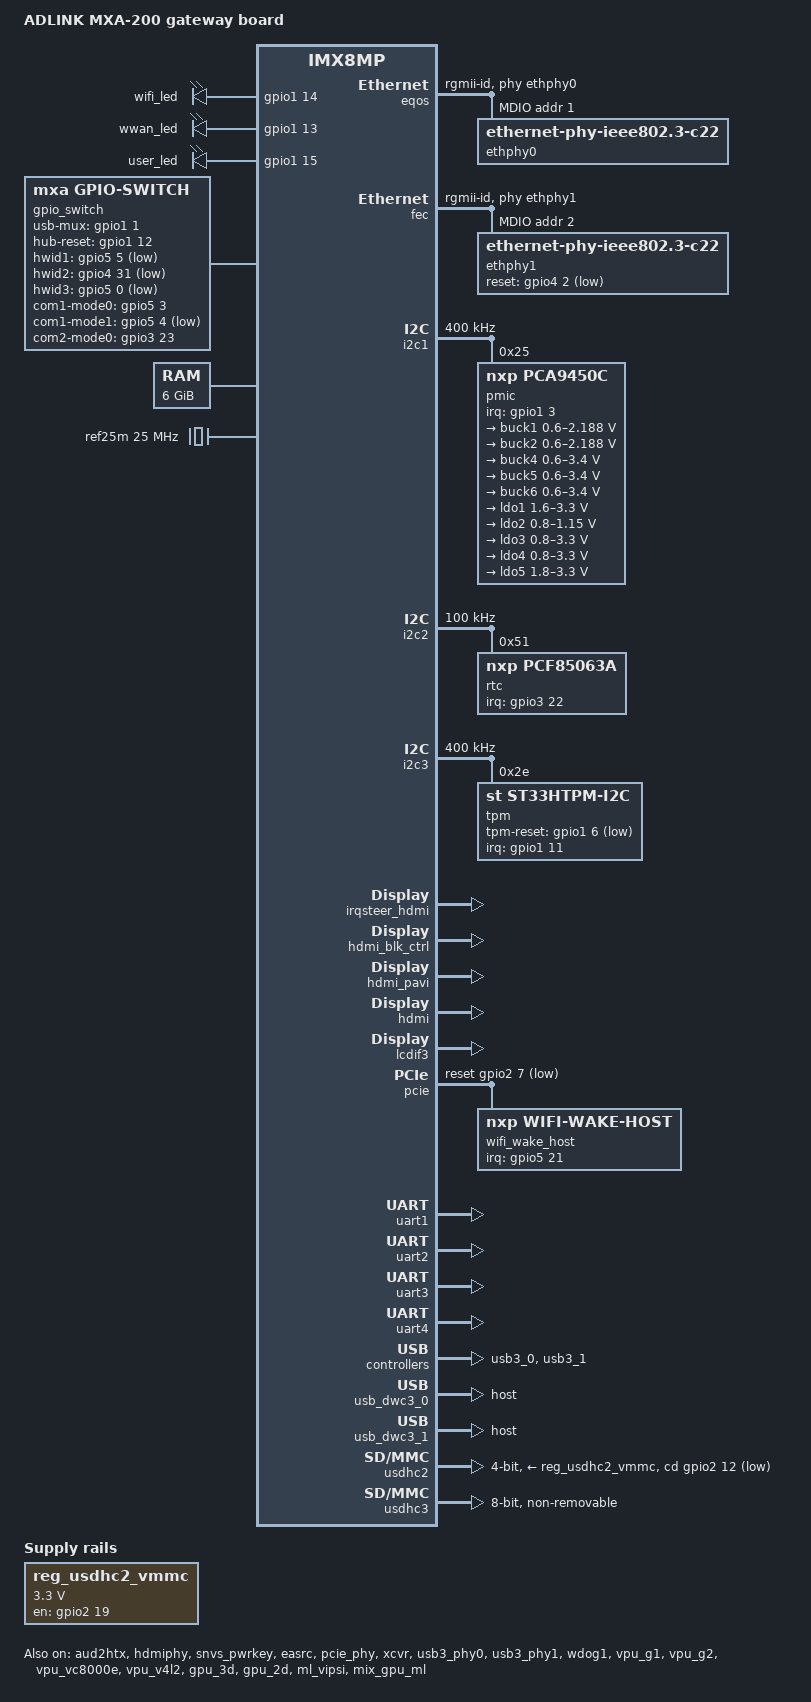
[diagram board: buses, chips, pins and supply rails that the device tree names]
// SPDX-License-Identifier: (GPL-2.0+ OR MIT)
/*
 * Copyright 2019 NXP
 */

/dts-v1/;

#include <dt-bindings/usb/pd.h>
#include "imx8mp.dtsi"
#include <dt-bindings/gpio/gpio.h>
#include <dt-bindings/leds/common.h>

/ {
	model = "ADLINK MXA-200 gateway board";
	compatible = "fsl,imx8mp-evk", "fsl,imx8mp";
	chosen {
		stdout-path = &uart2;
	};

	gpio-leds {
		compatible = "gpio-leds";
		pinctrl-names = "default";
		pinctrl-0 = <&pinctrl_gpio_led>;

		wifi_led {
			label = "wifi_led";
			gpios = <&gpio1 14 GPIO_ACTIVE_HIGH>;
			function = LED_FUNCTION_WLAN;
			linux,default-trigger = "hci0-power";
			default-state = "off";
			status = "okay";
		};
		
		wwan_led {
			label = "wwan_led";
			gpios = <&gpio1 13 GPIO_ACTIVE_HIGH>;
			function = LED_FUNCTION_WAN;
			linux,default-trigger = "wwan";
			default-state = "off";
			status = "okay";
		};	
		
		user_led {
			label = "user_led";
			gpios = <&gpio1 15 GPIO_ACTIVE_HIGH>;
			default-state = "off";
			status = "okay";
		};	
	};

	gpio_switch:gpio_switch{
			compatible = "mxa,gpio-switch";
			usb-hub-enable;
			usb-mux-gpios = <&gpio1 1 GPIO_ACTIVE_HIGH>;
			hub-reset-gpios = <&gpio1 12 GPIO_ACTIVE_HIGH>;
			hwid1-gpios = <&gpio5 5 GPIO_ACTIVE_LOW>;
			hwid2-gpios = <&gpio4 31 GPIO_ACTIVE_LOW>;
			hwid3-gpios = <&gpio5 0 GPIO_ACTIVE_LOW>;
			com1-mode0-gpios = <&gpio5 3 GPIO_ACTIVE_HIGH>;
			com1-mode1-gpios = <&gpio5 4 GPIO_ACTIVE_LOW>;
			com2-mode0-gpios = <&gpio3 23 GPIO_ACTIVE_HIGH>;
			com2-mode1-gpios = <&gpio3 24 GPIO_ACTIVE_LOW>;
			status = "okay";
	};

	memory@40000000 {
		device_type = "memory";
		reg = <0x0 0x40000000 0 0xc0000000>,
		      <0x1 0x00000000 0 0xc0000000>;
	};

	/* 25MHz reference crystal */
	ref25m: ref25xtal {
		compatible = "fixed-clock";
		#clock-cells = <0>;
		clock-frequency = <25000000>;
	};

	reg_usdhc2_vmmc: regulator-usdhc2 {
		compatible = "regulator-fixed";
		pinctrl-names = "default";
		pinctrl-0 = <&pinctrl_reg_usdhc2_vmmc>;
		regulator-name = "VSD_3V3";
		regulator-min-microvolt = <3300000>;
		regulator-max-microvolt = <3300000>;
		gpio = <&gpio2 19 GPIO_ACTIVE_HIGH>;
		enable-active-high;
	};
	
	sound-hdmi {
		compatible = "fsl,imx-audio-hdmi";
		model = "audio-hdmi";
		audio-cpu = <&aud2htx>;
		hdmi-out;
		constraint-rate = <44100>,
				<88200>,
				<176400>,
				<32000>,
				<48000>,
				<96000>,
				<192000>;
		status = "okay";
	};
};

&A53_0 {
	cpu-supply = <&buck2>;
};

&A53_1 {
	cpu-supply = <&buck2>;
};

&A53_2 {
	cpu-supply = <&buck2>;
};

&A53_3 {
	cpu-supply = <&buck2>;
};

&aud2htx {
	status = "okay";
};

&eqos {
	pinctrl-names = "default";
	pinctrl-0 = <&pinctrl_eqos>;
	phy-mode = "rgmii-id";
	phy-handle = <&ethphy0>;
	snps,force_thresh_dma_mode;
	snps,mtl-tx-config = <&mtl_tx_setup>;
	snps,mtl-rx-config = <&mtl_rx_setup>;
	status = "okay";

	mdio {
		compatible = "snps,dwmac-mdio";
		#address-cells = <1>;
		#size-cells = <0>;

		ethphy0: ethernet-phy@1 {
			compatible = "ethernet-phy-ieee802.3-c22";
			reg = <1>;
			eee-broken-1000t;
			realtek,clkout-disable;
		};
	};

	mtl_tx_setup: tx-queues-config {
		snps,tx-queues-to-use = <5>;
		snps,tx-sched-sp;
		queue0 {
			snps,dcb-algorithm;
			snps,priority = <0x1>;
		};
		queue1 {
			snps,dcb-algorithm;
			snps,priority = <0x2>;
		};
		queue2 {
			snps,dcb-algorithm;
			snps,priority = <0x4>;
		};
		queue3 {
			snps,dcb-algorithm;
			snps,priority = <0x8>;
		};
		queue4 {
			snps,dcb-algorithm;
			snps,priority = <0xf0>;
		};
	};
	mtl_rx_setup: rx-queues-config {
		snps,rx-queues-to-use = <5>;
		snps,rx-sched-sp;
		queue0 {
			snps,dcb-algorithm;
			snps,priority = <0x1>;
			snps,map-to-dma-channel = <0>;
		};
		queue1 {
			snps,dcb-algorithm;
			snps,priority = <0x2>;
			snps,map-to-dma-channel = <1>;
		};
		queue2 {
			snps,dcb-algorithm;
			snps,priority = <0x4>;
			snps,map-to-dma-channel = <2>;
		};
		queue3 {
			snps,dcb-algorithm;
			snps,priority = <0x8>;
			snps,map-to-dma-channel = <3>;
		};
		queue4 {
			snps,dcb-algorithm;
			snps,priority = <0xf0>;
			snps,map-to-dma-channel = <4>;
		};
	};
};

&fec {
	pinctrl-names = "default";
	pinctrl-0 = <&pinctrl_fec>;
	phy-mode = "rgmii-id";
	phy-handle = <&ethphy1>;
	fsl,magic-packet;
	status = "okay";

	mdio {
		#address-cells = <1>;
		#size-cells = <0>;

		ethphy1: ethernet-phy@1 {
			compatible = "ethernet-phy-ieee802.3-c22";
			reg = <2>;
			eee-broken-1000t;
			reset-gpios = <&gpio4 2 GPIO_ACTIVE_LOW>;
			reset-assert-us = <10000>;
			reset-deassert-us = <80000>;
			realtek,aldps-enable;
			realtek,clkout-disable;
		};
	};
};

&i2c1 {
	clock-frequency = <400000>;
	pinctrl-names = "default";
	pinctrl-0 = <&pinctrl_i2c1>;
	status = "okay";

	pmic@25 {
		compatible = "nxp,pca9450c";
		reg = <0x25>;
		pinctrl-names = "default";
		pinctrl-0 = <&pinctrl_pmic>;
		interrupt-parent = <&gpio1>;
		interrupts = <3 IRQ_TYPE_LEVEL_LOW>;

		regulators {
			buck1: BUCK1 {
				regulator-name = "BUCK1";
				regulator-min-microvolt = <600000>;
				regulator-max-microvolt = <2187500>;
				regulator-boot-on;
				regulator-always-on;
				regulator-ramp-delay = <3125>;
			};

			buck2: BUCK2 {
				regulator-name = "BUCK2";
				regulator-min-microvolt = <600000>;
				regulator-max-microvolt = <2187500>;
				regulator-boot-on;
				regulator-always-on;
				regulator-ramp-delay = <3125>;
				nxp,dvs-run-voltage = <950000>;
				nxp,dvs-standby-voltage = <850000>;
			};

			buck4: BUCK4{
				regulator-name = "BUCK4";
				regulator-min-microvolt = <600000>;
				regulator-max-microvolt = <3400000>;
				regulator-boot-on;
				regulator-always-on;
			};

			buck5: BUCK5{
				regulator-name = "BUCK5";
				regulator-min-microvolt = <600000>;
				regulator-max-microvolt = <3400000>;
				regulator-boot-on;
				regulator-always-on;
			};

			buck6: BUCK6 {
				regulator-name = "BUCK6";
				regulator-min-microvolt = <600000>;
				regulator-max-microvolt = <3400000>;
				regulator-boot-on;
				regulator-always-on;
			};

			ldo1: LDO1 {
				regulator-name = "LDO1";
				regulator-min-microvolt = <1600000>;
				regulator-max-microvolt = <3300000>;
				regulator-boot-on;
				regulator-always-on;
			};

			ldo2: LDO2 {
				regulator-name = "LDO2";
				regulator-min-microvolt = <800000>;
				regulator-max-microvolt = <1150000>;
				regulator-boot-on;
				regulator-always-on;
			};

			ldo3: LDO3 {
				regulator-name = "LDO3";
				regulator-min-microvolt = <800000>;
				regulator-max-microvolt = <3300000>;
				regulator-boot-on;
				regulator-always-on;
			};

			ldo4: LDO4 {
				regulator-name = "LDO4";
				regulator-min-microvolt = <800000>;
				regulator-max-microvolt = <3300000>;
				regulator-boot-on;
				regulator-always-on;
			};

			ldo5: LDO5 {
				regulator-name = "LDO5";
				regulator-min-microvolt = <1800000>;
				regulator-max-microvolt = <3300000>;
				regulator-boot-on;
				regulator-always-on;
			};
		};
	};
};

&i2c2 {
	clock-frequency = <100000>;
	pinctrl-names = "default";
	pinctrl-0 = <&pinctrl_i2c2>;
	status = "okay";
	
	/* RTC: PCF85063A */
	rtc: pcf85063a@51 {
		reg = <0x51>;
        quartz-load-femtofarads = <12500>;
		compatible = "nxp,pcf85063a";
        interrupt-parent = <&gpio3>;
        interrupts = <22 IRQ_TYPE_EDGE_FALLING>;
	};

};

&i2c3 {
	clock-frequency = <400000>;
	pinctrl-names = "default";
	pinctrl-0 = <&pinctrl_i2c3>;
	status = "okay";

    /* TPM: ST33HTPH2X32AHD5 */
    tpm: st33htph77@2e {
        reg = <0x2e>;
        compatible = "st,st33htpm-i2c";
        pinctrl-names = "default";
        pinctrl-0 = <&pinctrl_tpm>;
        /* MX8MP_IOMUXC_GPIO1_IO11__GPIO1_IO11 (TPM_INT_N) */
        interrupt-parent = <&gpio1>;
        interrupts = <11 IRQ_TYPE_EDGE_FALLING>;
        /* MX8MP_IOMUXC_GPIO1_IO06__GPIO1_IO06 (TPM_RST#) */
        tpm-reset = <&gpio1 6 GPIO_ACTIVE_LOW>;
        reset-assert-us = <200000>;
	status = "okay";
    };

};

&irqsteer_hdmi {
	status = "okay";
};

&hdmi_blk_ctrl {
	status = "okay";
};

&hdmi_pavi {
	status = "okay";
};

&hdmi {
	status = "okay";
};

&hdmiphy {
	status = "okay";
};
#if 0
&lcdif1 {
	status = "okay";
};

&lcdif2 {
	status = "okay";
};
#endif

&lcdif3 {
	status = "okay";

	thres-low  = <1 2>;             /* (FIFO * 1 / 2) */
	thres-high = <3 4>;             /* (FIFO * 3 / 4) */
};

&snvs_pwrkey {
	status = "okay";
};

&easrc {
	fsl,asrc-rate  = <48000>;
	status = "okay";
};

&pcie{
	pinctrl-names = "default";
	pinctrl-0 = <&pinctrl_pcie>;
	disable-gpio = <&gpio2 6 GPIO_ACTIVE_LOW>;
	reset-gpio = <&gpio2 7 GPIO_ACTIVE_LOW>;
	ext_osc = <1>;
	clocks = <&clk IMX8MP_CLK_HSIO_ROOT>,
		 <&clk IMX8MP_CLK_PCIE_AUX>,
		 <&clk IMX8MP_CLK_HSIO_AXI>,
		 <&clk IMX8MP_CLK_PCIE_ROOT>;
	clock-names = "pcie", "pcie_aux", "pcie_phy", "pcie_bus";
	assigned-clocks = <&clk IMX8MP_CLK_HSIO_AXI>,
			  <&clk IMX8MP_CLK_PCIE_AUX>;
	assigned-clock-rates = <500000000>, <10000000>;
	assigned-clock-parents = <&clk IMX8MP_SYS_PLL2_500M>,
				 <&clk IMX8MP_SYS_PLL2_50M>;
	l1ss-disabled;
	status = "okay";

	wifi_wake_host {
		compatible = "nxp,wifi-wake-host";
		interrupt-parent = <&gpio5>;
		interrupts = <21 IRQ_TYPE_LEVEL_LOW>;
		interrupt-names = "host-wake";
	};
};

&pcie_ep{
	pinctrl-names = "default";
	pinctrl-0 = <&pinctrl_pcie>;
	ext_osc = <1>;
	clocks = <&clk IMX8MP_CLK_HSIO_ROOT>,
		 <&clk IMX8MP_CLK_PCIE_AUX>,
		 <&clk IMX8MP_CLK_HSIO_AXI>,
		 <&clk IMX8MP_CLK_PCIE_ROOT>;
	clock-names = "pcie", "pcie_aux", "pcie_phy", "pcie_bus";
	assigned-clocks = <&clk IMX8MP_CLK_HSIO_AXI>,
			  <&clk IMX8MP_CLK_PCIE_AUX>;
	assigned-clock-rates = <500000000>, <10000000>;
	assigned-clock-parents = <&clk IMX8MP_SYS_PLL2_500M>,
				 <&clk IMX8MP_SYS_PLL2_50M>;
	status = "disabled";
};

&pcie_phy{
	ext_osc = <1>;
	status = "okay";
};

&xcvr {
	#sound-dai-cells = <0>;
	status = "okay";
};

&sdma2 {
	status = "okay";
};

&uart1 { /* BT */
	pinctrl-names = "default";
	pinctrl-0 = <&pinctrl_uart1>;
	assigned-clocks = <&clk IMX8MP_CLK_UART1>;
	assigned-clock-parents = <&clk IMX8MP_SYS_PLL1_80M>;
	fsl,uart-has-rtscts;
	status = "okay";
};

&uart2 {
	/* console */
	pinctrl-names = "default";
	pinctrl-0 = <&pinctrl_uart2>;
	status = "okay";
};

&uart3 {
	pinctrl-names = "default";
	pinctrl-0 = <&pinctrl_uart3>;
	assigned-clocks = <&clk IMX8MP_CLK_UART3>;
	assigned-clock-parents = <&clk IMX8MP_SYS_PLL1_80M>;
	fsl,uart-has-rtscts;
	status = "okay";
};

&uart4 {
        pinctrl-names = "default";
        pinctrl-0 = <&pinctrl_uart4>;
        assigned-clocks = <&clk IMX8MP_CLK_UART4>;
        assigned-clock-parents = <&clk IMX8MP_SYS_PLL1_80M>;
        fsl,uart-has-rtscts;
        status = "okay";
};

&usb3_phy0 {
	//vbus-power-supply = <&ptn5110>;
	fsl,phy-tx-vref-tune = <0xe>;
	fsl,phy-tx-preemp-amp-tune = <3>;
	fsl,phy-tx-vboost-level = <5>;
	fsl,phy-comp-dis-tune = <7>;
	fsl,pcs-tx-deemph-3p5db = <0x21>;
	fsl,phy-pcs-tx-swing-full = <0x7f>;
	status = "okay";
};

&usb3_0 {
	status = "okay";
};

&usb_dwc3_0 {
	pinctrl-names = "default";
	pinctrl-0 = <&pinctrl_usb0_mux>;
	mux_gpios = <&gpio1 1 GPIO_ACTIVE_HIGH>;
	dr_mode = "host";
	status = "okay";
};

&usb3_phy1 {
	fsl,phy-tx-preemp-amp-tune = <3>;
	fsl,phy-tx-vref-tune = <0xb>;
	status = "okay";
};

&usb3_1 {
	status = "okay";
};

&usb_dwc3_1 {
	pinctrl-names = "default";
	//pinctrl-0 = <&pinctrl_usb1_vbus>;
	dr_mode = "host";
	status = "okay";
};

&usdhc2 {
	assigned-clocks = <&clk IMX8MP_CLK_USDHC2>;
	assigned-clock-rates = <400000000>;
	pinctrl-names = "default", "state_100mhz", "state_200mhz";
	pinctrl-0 = <&pinctrl_usdhc2>, <&pinctrl_usdhc2_gpio>;
	pinctrl-1 = <&pinctrl_usdhc2_100mhz>, <&pinctrl_usdhc2_gpio>;
	pinctrl-2 = <&pinctrl_usdhc2_200mhz>, <&pinctrl_usdhc2_gpio>;
	cd-gpios = <&gpio2 12 GPIO_ACTIVE_LOW>;
	vmmc-supply = <&reg_usdhc2_vmmc>;
	bus-width = <4>;
	status = "okay";
};

&usdhc3 {
	assigned-clocks = <&clk IMX8MP_CLK_USDHC3>;
	assigned-clock-rates = <400000000>;
	pinctrl-names = "default", "state_100mhz", "state_200mhz";
	pinctrl-0 = <&pinctrl_usdhc3>;
	pinctrl-1 = <&pinctrl_usdhc3_100mhz>;
	pinctrl-2 = <&pinctrl_usdhc3_200mhz>;
	bus-width = <8>;
	non-removable;
	status = "okay";
};

&wdog1 {
	pinctrl-names = "default";
	pinctrl-0 = <&pinctrl_wdog>;
	fsl,ext-reset-output;
	status = "okay";
};

&iomuxc {
	pinctrl-names = "default";
	pinctrl-0 = <&pinctrl_hog>;

	pinctrl_hog: hoggrp {
		fsl,pins = <
			MX8MP_IOMUXC_HDMI_DDC_SCL__HDMIMIX_HDMI_SCL	0x400001c3
			MX8MP_IOMUXC_HDMI_DDC_SDA__HDMIMIX_HDMI_SDA	0x400001c3
			MX8MP_IOMUXC_HDMI_HPD__HDMIMIX_HDMI_HPD		0x40000019
			MX8MP_IOMUXC_HDMI_CEC__HDMIMIX_HDMI_CEC		0x40000019
	        MX8MP_IOMUXC_GPIO1_IO07__GPIO1_IO07        0x00000106   //FUNCTION_INT
	        MX8MP_IOMUXC_SAI3_RXD__GPIO4_IO30        0x00000104   //WWAN_RESET
	        MX8MP_IOMUXC_NAND_DQS__GPIO3_IO14        0x00000104   //M.2 B-key Reset
            MX8MP_IOMUXC_GPIO1_IO12__GPIO1_IO12        0x00000106   //HUB_RESET
            MX8MP_IOMUXC_GPIO1_IO15__GPIO1_IO15        0x00000104   //USER LED
            MX8MP_IOMUXC_SAI3_TXC__GPIO5_IO00          0x00000106   //HWID_3
            MX8MP_IOMUXC_SAI3_TXFS__GPIO4_IO31         0x00000106   //HWID_2
            MX8MP_IOMUXC_SAI5_RXD1__GPIO3_IO22         0x00000106   //RTC INT
	        MX8MP_IOMUXC_SAI5_RXD2__GPIO3_IO23         0x00000106   //GPIO_COM2_MODE0
            MX8MP_IOMUXC_SAI5_RXD3__GPIO3_IO24         0x00000106   //GPIO_COM2_MODE1
            MX8MP_IOMUXC_SD1_DATA6__GPIO2_IO08         0x00000106   //M.2 BT wakeup
            MX8MP_IOMUXC_SD1_DATA7__GPIO2_IO09         0x00000106   //M.2 SDIO wakeup
	        MX8MP_IOMUXC_SPDIF_EXT_CLK__GPIO5_IO05     0x00000106	//HWID_1
            MX8MP_IOMUXC_SPDIF_RX__GPIO5_IO04          0x00000106	//GPIO_COM1_MODE1
	        MX8MP_IOMUXC_SPDIF_TX__GPIO5_IO03          0x00000106	//GPIO_COM1_MODE0
		>;
	};
	
    pinctrl_tpm: tpmgrp {
	    fsl,pins = <
                MX8MP_IOMUXC_GPIO1_IO11__GPIO1_IO11           0x156
           	MX8MP_IOMUXC_GPIO1_IO06__GPIO1_IO06        0x156	//TPM reset
            >;
	};

	pinctrl_eqos: eqosgrp {
		fsl,pins = <
			MX8MP_IOMUXC_ENET_MDC__ENET_QOS_MDC				0x3
			MX8MP_IOMUXC_ENET_MDIO__ENET_QOS_MDIO				0x3
			MX8MP_IOMUXC_ENET_RD0__ENET_QOS_RGMII_RD0			0x91
			MX8MP_IOMUXC_ENET_RD1__ENET_QOS_RGMII_RD1			0x91
			MX8MP_IOMUXC_ENET_RD2__ENET_QOS_RGMII_RD2			0x91
			MX8MP_IOMUXC_ENET_RD3__ENET_QOS_RGMII_RD3			0x91
			MX8MP_IOMUXC_ENET_RXC__CCM_ENET_QOS_CLOCK_GENERATE_RX_CLK	0x91
			MX8MP_IOMUXC_ENET_RX_CTL__ENET_QOS_RGMII_RX_CTL			0x91
			MX8MP_IOMUXC_ENET_TD0__ENET_QOS_RGMII_TD0			0x1f
			MX8MP_IOMUXC_ENET_TD1__ENET_QOS_RGMII_TD1			0x1f
			MX8MP_IOMUXC_ENET_TD2__ENET_QOS_RGMII_TD2			0x1f
			MX8MP_IOMUXC_ENET_TD3__ENET_QOS_RGMII_TD3			0x1f
			MX8MP_IOMUXC_ENET_TX_CTL__ENET_QOS_RGMII_TX_CTL			0x1f
			MX8MP_IOMUXC_ENET_TXC__CCM_ENET_QOS_CLOCK_GENERATE_TX_CLK	0x1f
            MX8MP_IOMUXC_SAI2_RXC__GPIO4_IO22          			0x19   //ENET RESET
            MX8MP_IOMUXC_SAI2_RXFS__GPIO4_IO21         0x00000106   //ENET INT
			MX8MP_IOMUXC_GPIO1_IO08__ENET_QOS_1588_EVENT0_IN	0x106
			MX8MP_IOMUXC_GPIO1_IO09__ENET_QOS_1588_EVENT0_OUT	0x106
		>;
	};

	pinctrl_fec: fecgrp {
		fsl,pins = <
			MX8MP_IOMUXC_SAI1_RXD2__ENET1_MDC		0x3
			MX8MP_IOMUXC_SAI1_RXD3__ENET1_MDIO		0x3
			MX8MP_IOMUXC_SAI1_RXD4__ENET1_RGMII_RD0		0x91
			MX8MP_IOMUXC_SAI1_RXD5__ENET1_RGMII_RD1		0x91
			MX8MP_IOMUXC_SAI1_RXD6__ENET1_RGMII_RD2		0x91
			MX8MP_IOMUXC_SAI1_RXD7__ENET1_RGMII_RD3		0x91
			MX8MP_IOMUXC_SAI1_TXC__ENET1_RGMII_RXC		0x91
			MX8MP_IOMUXC_SAI1_TXFS__ENET1_RGMII_RX_CTL	0x91
			MX8MP_IOMUXC_SAI1_TXD0__ENET1_RGMII_TD0		0x1f
			MX8MP_IOMUXC_SAI1_TXD1__ENET1_RGMII_TD1		0x1f
			MX8MP_IOMUXC_SAI1_TXD2__ENET1_RGMII_TD2		0x1f
			MX8MP_IOMUXC_SAI1_TXD3__ENET1_RGMII_TD3		0x1f
			MX8MP_IOMUXC_SAI1_TXD4__ENET1_RGMII_TX_CTL	0x1f
			MX8MP_IOMUXC_SAI1_TXD5__ENET1_RGMII_TXC		0x1f
            MX8MP_IOMUXC_SAI1_RXD1__GPIO4_IO03         0x00000106   //ENET1 INT
			MX8MP_IOMUXC_SAI1_RXD0__GPIO4_IO02		0x19    //ENET1_RESET
            MX8MP_IOMUXC_SAI1_RXC__ENET1_1588_EVENT0_OUT    0x00000106
            MX8MP_IOMUXC_SAI1_RXFS__ENET1_1588_EVENT0_IN    0x00000106
		>;
	};


	pinctrl_gpio_led: gpioledgrp {
		fsl,pins = <
            MX8MP_IOMUXC_GPIO1_IO14__GPIO1_IO14        0x19   //M.2 WIFI LED
            MX8MP_IOMUXC_GPIO1_IO13__GPIO1_IO13        0x19   //M.2 WWAN LED
		>;
	};

	pinctrl_i2c1: i2c1grp {
		fsl,pins = <
			MX8MP_IOMUXC_I2C1_SCL__I2C1_SCL		0x400001c2
			MX8MP_IOMUXC_I2C1_SDA__I2C1_SDA		0x400001c2
		>;
	};

	pinctrl_i2c2: i2c2grp {
		fsl,pins = <
			MX8MP_IOMUXC_I2C2_SCL__I2C2_SCL		0x400001c2
			MX8MP_IOMUXC_I2C2_SDA__I2C2_SDA		0x400001c2
		>;
	};

	pinctrl_i2c3: i2c3grp {
		fsl,pins = <
			MX8MP_IOMUXC_I2C3_SCL__I2C3_SCL		0x400001c2
			MX8MP_IOMUXC_I2C3_SDA__I2C3_SDA		0x400001c2
		>;
	};

	pinctrl_pcie: pciegrp {
		fsl,pins = <
			MX8MP_IOMUXC_I2C4_SCL__PCIE_CLKREQ_B		0x61 /* open drain, pull up */
            MX8MP_IOMUXC_SD1_DATA4__GPIO2_IO06              0x41   //PCIe disable
            MX8MP_IOMUXC_SD1_DATA5__GPIO2_IO07              0x41   //PCIe Reset
            MX8MP_IOMUXC_I2C4_SDA__GPIO5_IO21               0x1c4   //PCIe Wakeup
		>;
	};

	pinctrl_pmic: pmicgrp {
		fsl,pins = <
			MX8MP_IOMUXC_GPIO1_IO03__GPIO1_IO03	0x000001c0
		>;
	};

	pinctrl_reg_usdhc2_vmmc: regusdhc2vmmcgrp {
		fsl,pins = <
			MX8MP_IOMUXC_SD2_RESET_B__GPIO2_IO19	0x41
		>;
	};


	pinctrl_sai2: sai2grp {
		fsl,pins = <
			MX8MP_IOMUXC_SAI2_TXC__AUDIOMIX_SAI2_TX_BCLK	0xd6
			MX8MP_IOMUXC_SAI2_TXFS__AUDIOMIX_SAI2_TX_SYNC	0xd6
			MX8MP_IOMUXC_SAI2_TXD0__AUDIOMIX_SAI2_TX_DATA00	0xd6
			MX8MP_IOMUXC_SAI2_RXD0__AUDIOMIX_SAI2_RX_DATA00	0xd6
		>;
	};

	pinctrl_sai3: sai3grp {
		fsl,pins = <
			MX8MP_IOMUXC_SAI3_TXFS__AUDIOMIX_SAI3_TX_SYNC	0xd6
			MX8MP_IOMUXC_SAI3_TXC__AUDIOMIX_SAI3_TX_BCLK	0xd6
			MX8MP_IOMUXC_SAI3_RXD__AUDIOMIX_SAI3_RX_DATA00	0xd6
			MX8MP_IOMUXC_SAI3_TXD__AUDIOMIX_SAI3_TX_DATA00	0xd6
			MX8MP_IOMUXC_SAI3_MCLK__AUDIOMIX_SAI3_MCLK	0xd6
			MX8MP_IOMUXC_SAI3_RXFS__GPIO4_IO28		0xd6
			MX8MP_IOMUXC_SAI3_RXC__GPIO4_IO29		0xd6
		>;
	};

	pinctrl_i2c2_synaptics_dsx_io: synaptics_dsx_iogrp {
		fsl,pins = <
			MX8MP_IOMUXC_GPIO1_IO09__GPIO1_IO09		0x16
		>;
	};

	pinctrl_uart1: uart1grp {
		fsl,pins = <
			MX8MP_IOMUXC_UART1_RXD__UART1_DCE_RX	0x140
			MX8MP_IOMUXC_UART1_TXD__UART1_DCE_TX	0x140
			MX8MP_IOMUXC_UART3_RXD__UART1_DCE_CTS	0x140
			MX8MP_IOMUXC_UART3_TXD__UART1_DCE_RTS	0x140
		>;
	};

	pinctrl_typec: typec1grp {
		fsl,pins = <
			MX8MP_IOMUXC_SAI1_TXD7__GPIO4_IO19	0x1c4
		>;
	};

	pinctrl_typec_mux: typec1muxgrp {
		fsl,pins = <
			MX8MP_IOMUXC_SAI1_MCLK__GPIO4_IO20	0x16
		>;
	};

	pinctrl_uart2: uart2grp {
		fsl,pins = <
			MX8MP_IOMUXC_UART2_RXD__UART2_DCE_RX	0x140
			MX8MP_IOMUXC_UART2_TXD__UART2_DCE_TX	0x140
		>;
	};

	pinctrl_usb0_id: usb0_id_grp {
		fsl,pins = <
			MX8MP_IOMUXC_GPIO1_IO10__USB1_ID		0x19
		>;
	};
	
	pinctrl_usb0_mux: usb0_mux_grp {
		fsl,pins = <
	        MX8MP_IOMUXC_GPIO1_IO01__GPIO1_IO01     0x19	//GPIO_USB_MUX_SEL(Need check boot status is high or low)
		>;
	};

	pinctrl_usb1_vbus: usb1grp {
		fsl,pins = <
			//MX8MP_IOMUXC_GPIO1_IO14__USB2_PWR		0x19
		>;
	};

	pinctrl_uart3: uart3grp {
		fsl,pins = <
			MX8MP_IOMUXC_ECSPI1_SCLK__UART3_DCE_RX		0x140
			MX8MP_IOMUXC_ECSPI1_MOSI__UART3_DCE_TX		0x140
			MX8MP_IOMUXC_ECSPI1_SS0__UART3_DCE_RTS		0x140
			MX8MP_IOMUXC_ECSPI1_MISO__UART3_DCE_CTS		0x140
		>;
	};

    pinctrl_uart4: uart4grp {
        fsl,pins = <
			MX8MP_IOMUXC_ECSPI2_SCLK__UART4_DCE_RX		0x140
			MX8MP_IOMUXC_ECSPI2_MOSI__UART4_DCE_TX		0x140
			MX8MP_IOMUXC_ECSPI2_SS0__UART4_DCE_RTS		0x140
			MX8MP_IOMUXC_ECSPI2_MISO__UART4_DCE_CTS		0x140
        >;
    };

	pinctrl_usdhc2: usdhc2grp {
		fsl,pins = <
			MX8MP_IOMUXC_SD2_CLK__USDHC2_CLK	0x190
			MX8MP_IOMUXC_SD2_CMD__USDHC2_CMD	0x1d0
			MX8MP_IOMUXC_SD2_DATA0__USDHC2_DATA0	0x1d0
			MX8MP_IOMUXC_SD2_DATA1__USDHC2_DATA1	0x1d0
			MX8MP_IOMUXC_SD2_DATA2__USDHC2_DATA2	0x1d0
			MX8MP_IOMUXC_SD2_DATA3__USDHC2_DATA3	0x1d0
			MX8MP_IOMUXC_GPIO1_IO04__USDHC2_VSELECT	0xc1
		>;
	};

	pinctrl_usdhc2_100mhz: usdhc2-100mhzgrp {
		fsl,pins = <
			MX8MP_IOMUXC_SD2_CLK__USDHC2_CLK	0x194
			MX8MP_IOMUXC_SD2_CMD__USDHC2_CMD	0x1d4
			MX8MP_IOMUXC_SD2_DATA0__USDHC2_DATA0	0x1d4
			MX8MP_IOMUXC_SD2_DATA1__USDHC2_DATA1	0x1d4
			MX8MP_IOMUXC_SD2_DATA2__USDHC2_DATA2	0x1d4
			MX8MP_IOMUXC_SD2_DATA3__USDHC2_DATA3	0x1d4
			MX8MP_IOMUXC_GPIO1_IO04__USDHC2_VSELECT 0xc1
		>;
	};

	pinctrl_usdhc2_200mhz: usdhc2-200mhzgrp {
		fsl,pins = <
			MX8MP_IOMUXC_SD2_CLK__USDHC2_CLK	0x196
			MX8MP_IOMUXC_SD2_CMD__USDHC2_CMD	0x1d6
			MX8MP_IOMUXC_SD2_DATA0__USDHC2_DATA0	0x1d6
			MX8MP_IOMUXC_SD2_DATA1__USDHC2_DATA1	0x1d6
			MX8MP_IOMUXC_SD2_DATA2__USDHC2_DATA2	0x1d6
			MX8MP_IOMUXC_SD2_DATA3__USDHC2_DATA3	0x1d6
			MX8MP_IOMUXC_GPIO1_IO04__USDHC2_VSELECT 0xc1
		>;
	};

	pinctrl_usdhc2_gpio: usdhc2gpiogrp {
		fsl,pins = <
            MX8MP_IOMUXC_SD2_CD_B__GPIO2_IO12       0x1c4
		>;
	};

	pinctrl_usdhc3: usdhc3grp {
		fsl,pins = <
			MX8MP_IOMUXC_NAND_WE_B__USDHC3_CLK	0x190
			MX8MP_IOMUXC_NAND_WP_B__USDHC3_CMD	0x1d0
			MX8MP_IOMUXC_NAND_DATA04__USDHC3_DATA0	0x1d0
			MX8MP_IOMUXC_NAND_DATA05__USDHC3_DATA1	0x1d0
			MX8MP_IOMUXC_NAND_DATA06__USDHC3_DATA2	0x1d0
			MX8MP_IOMUXC_NAND_DATA07__USDHC3_DATA3	0x1d0
			MX8MP_IOMUXC_NAND_RE_B__USDHC3_DATA4	0x1d0
			MX8MP_IOMUXC_NAND_CE2_B__USDHC3_DATA5	0x1d0
			MX8MP_IOMUXC_NAND_CE3_B__USDHC3_DATA6	0x1d0
			MX8MP_IOMUXC_NAND_CLE__USDHC3_DATA7	0x1d0
			MX8MP_IOMUXC_NAND_CE1_B__USDHC3_STROBE	0x190
		>;
	};

	pinctrl_usdhc3_100mhz: usdhc3-100mhzgrp {
		fsl,pins = <
			MX8MP_IOMUXC_NAND_WE_B__USDHC3_CLK	0x194
			MX8MP_IOMUXC_NAND_WP_B__USDHC3_CMD	0x1d4
			MX8MP_IOMUXC_NAND_DATA04__USDHC3_DATA0	0x1d4
			MX8MP_IOMUXC_NAND_DATA05__USDHC3_DATA1	0x1d4
			MX8MP_IOMUXC_NAND_DATA06__USDHC3_DATA2	0x1d4
			MX8MP_IOMUXC_NAND_DATA07__USDHC3_DATA3	0x1d4
			MX8MP_IOMUXC_NAND_RE_B__USDHC3_DATA4	0x1d4
			MX8MP_IOMUXC_NAND_CE2_B__USDHC3_DATA5	0x1d4
			MX8MP_IOMUXC_NAND_CE3_B__USDHC3_DATA6	0x1d4
			MX8MP_IOMUXC_NAND_CLE__USDHC3_DATA7	0x1d4
			MX8MP_IOMUXC_NAND_CE1_B__USDHC3_STROBE	0x194
		>;
	};

	pinctrl_usdhc3_200mhz: usdhc3-200mhzgrp {
		fsl,pins = <
			MX8MP_IOMUXC_NAND_WE_B__USDHC3_CLK	0x196
			MX8MP_IOMUXC_NAND_WP_B__USDHC3_CMD	0x1d6
			MX8MP_IOMUXC_NAND_DATA04__USDHC3_DATA0	0x1d6
			MX8MP_IOMUXC_NAND_DATA05__USDHC3_DATA1	0x1d6
			MX8MP_IOMUXC_NAND_DATA06__USDHC3_DATA2	0x1d6
			MX8MP_IOMUXC_NAND_DATA07__USDHC3_DATA3	0x1d6
			MX8MP_IOMUXC_NAND_RE_B__USDHC3_DATA4	0x1d6
			MX8MP_IOMUXC_NAND_CE2_B__USDHC3_DATA5	0x1d6
			MX8MP_IOMUXC_NAND_CE3_B__USDHC3_DATA6	0x1d6
			MX8MP_IOMUXC_NAND_CLE__USDHC3_DATA7	0x1d6
			MX8MP_IOMUXC_NAND_CE1_B__USDHC3_STROBE	0x196
		>;
	};

	pinctrl_wdog: wdoggrp {
		fsl,pins = <
			MX8MP_IOMUXC_GPIO1_IO02__WDOG1_WDOG_B	0x166
		>;
	};
};

&vpu_g1 {
	status = "okay";
};

&vpu_g2 {
	status = "okay";
};

&vpu_vc8000e {
	status = "okay";
};

&vpu_v4l2 {
	status = "okay";
};

&gpu_3d {
	status = "okay";
};

&gpu_2d {
	status = "okay";
};

&ml_vipsi {
	status = "okay";
};

&mix_gpu_ml {
	status = "okay";
};
